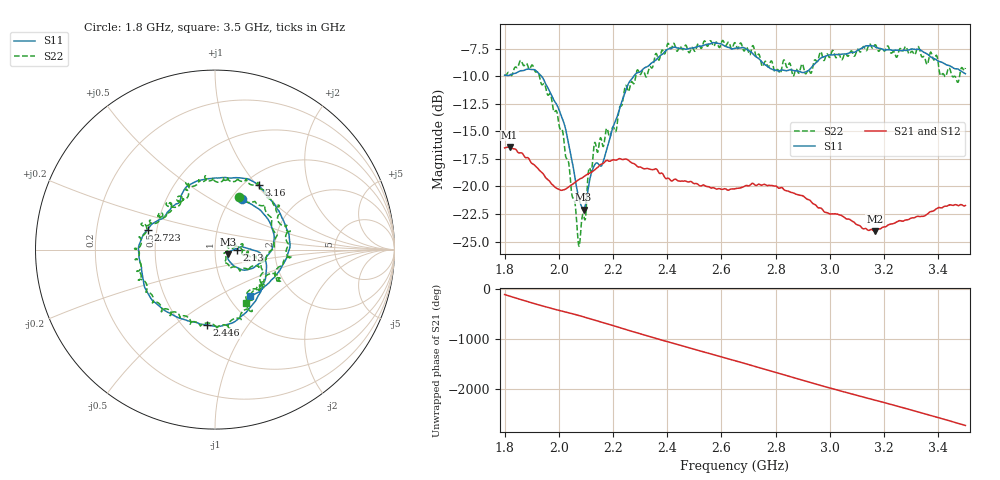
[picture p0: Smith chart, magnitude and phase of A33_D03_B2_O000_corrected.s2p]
! Created with skrf 1.9.0 (http://scikit-rf.org).
# Hz S RI R 50.0
!freq ReS11 ImS11 ReS21 ImS21 ReS12 ImS12 ReS22 ImS22
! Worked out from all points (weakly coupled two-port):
!   1601 points, 1.8 GHz to 3.5 GHz, reference 50 ohm
!   highest |S21| = -16.41 dB at 1.818 GHz (marker M1); lowest = -24.0 dB at 3.165 GHz (marker M2)
!   lowest |S11| = -22.1 dB at 2.091 GHz (marker M3), VSWR 1.17, Z = 58 - j2.78 ohm
!   |S11| at or under -10 dB: 1.936 GHz to 2.276 GHz (339.9 MHz wide, 16.1 % of centre)
!   |S22| runs from -25.4 to -6.8 dB; largest |S21 - S12| = 0.0026
!   S11 on the Smith chart (normalised r, x): 1.8 GHz: 1.12, +0.71; 2.13 GHz: 1.28, +0.00; 2.446 GHz: 0.65, -0.66; 2.723 GHz: 0.44, +0.12; 3.16 GHz: 1.16, +1.03; 3.5 GHz: 1.26, -0.73
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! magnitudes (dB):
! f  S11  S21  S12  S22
! 1.8 GHz  -9.9  -16.5  -16.5  -9.9
! 1.818 GHz  -9.9  -16.4  -16.4  -9.7
! 1.903 GHz  -9.4  -17.9  -17.9  -9.0
! 1.968 GHz  -11.5  -19.6  -19.6  -11.6
! 2.015 GHz  -13.9  -20.3  -20.4  -15.1
! 2.072 GHz  -20.8  -19.4  -19.4  -25.2
! 2.084 GHz  -21.8  -19.3  -19.2  -23.2
! 2.091 GHz  -22.1  -19.1  -19.2  -22.6
! 2.13 GHz  -18.1  -18.5  -18.5  -16.2
! 2.162 GHz  -17.9  -17.9  -17.9  -16.3
! 2.26 GHz  -10.5  -17.7  -17.7  -11.2
! 2.367 GHz  -8.3  -18.7  -18.6  -8.5
! 2.446 GHz  -7.5  -19.5  -19.5  -7.3
! 2.65 GHz  -7.5  -20.2  -20.2  -7.0
! 2.723 GHz  -8.1  -19.9  -19.8  -7.8
! 2.934 GHz  -9.2  -21.5  -21.4  -9.5
! 3.16 GHz  -7.2  -24.0  -23.9  -7.4
! 3.165 GHz  -7.3  -24.0  -24.0  -7.2
! 3.217 GHz  -7.6  -23.5  -23.4  -7.4
! 3.327 GHz  -7.6  -22.7  -22.7  -7.3
! 3.469 GHz  -9.3  -21.7  -21.7  -10.5
! 3.5 GHz  -9.8  -21.7  -21.7  -9.2
